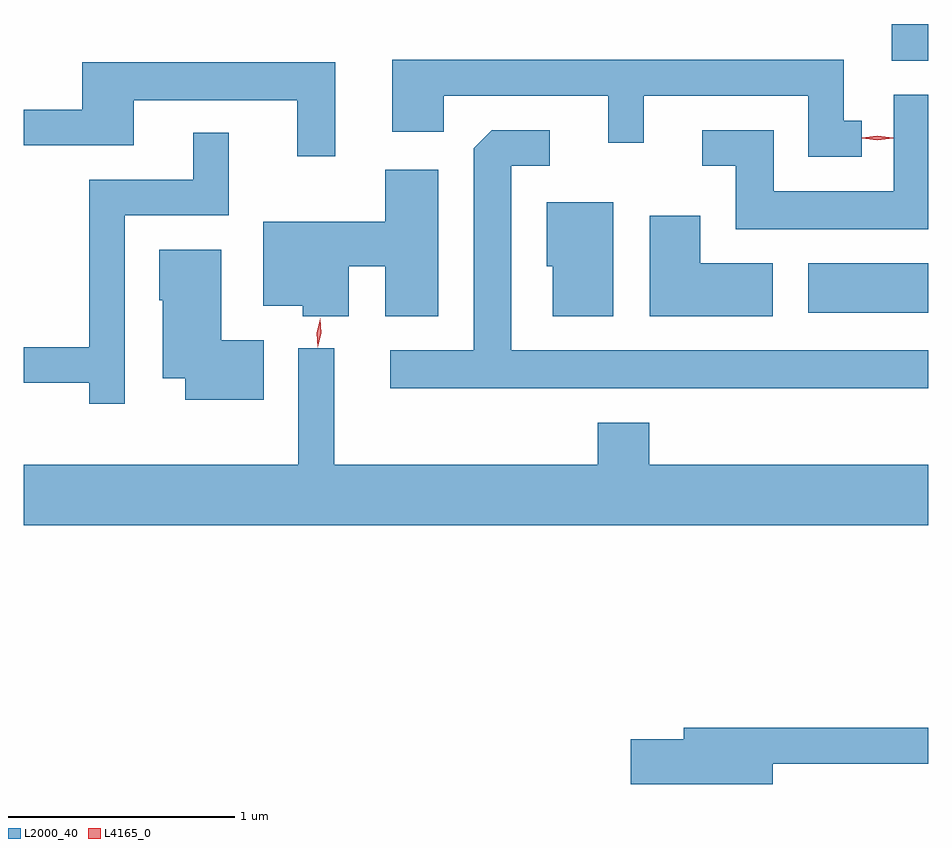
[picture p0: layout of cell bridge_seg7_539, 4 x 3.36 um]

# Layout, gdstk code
import gdstk
lib = gdstk.Library(unit=1e-6, precision=1e-09)
def R(c, l, rs):  # rectangles x0, y0, x1, y1
    for r in rs: c.add(gdstk.rectangle(r[:2], r[2:], *l))
def P(c, l, *ps):  # polygons
    for p in ps: c.add(gdstk.Polygon(p, *l))
L2000_40 = (2000, 40)
L4165_0 = (4165, 0)

bridge_seg7_539 = lib.new_cell('bridge_seg7_539')
R(bridge_seg7_539, L2000_40, [(959.011,1770.756,959.542,1770.974), (959.381,1771.871,959.542,1772.033)])
P(bridge_seg7_539, L2000_40, [(959.248,1771.604),(959.169,1771.604),(959.169,1771.874),(957.171,1771.874),(957.171,1771.556),(957.399,1771.556),(957.399,1771.716),(958.126,1771.716),(958.126,1771.508),(958.284,1771.508),(958.284,1771.716),(959.011,1771.716),(959.011,1771.446),(959.248,1771.446)],
  [(956.919,1771.864),(955.801,1771.864),(955.801,1771.654),(955.542,1771.654),(955.542,1771.496),(956.029,1771.496),(956.029,1771.696),(956.751,1771.696),(956.751,1771.448),(956.919,1771.448)],
  [(959.542,1771.719),(959.391,1771.719),(959.391,1771.294),(958.859,1771.294),(958.859,1771.564),(958.543,1771.564),(958.543,1771.406),(958.691,1771.406),(958.691,1771.126),(959.542,1771.126)],
  [(959.542,1770.589),(957.699,1770.589),(957.699,1771.406),(957.868,1771.406),(957.868,1771.564),(957.612,1771.564),(957.531,1771.484),(957.531,1770.589),(957.163,1770.589),(957.163,1770.421),(959.542,1770.421)],
  [(955.989,1771.186),(956.449,1771.186),(956.449,1771.553),(956.291,1771.553),(956.291,1771.344),(955.831,1771.344),(955.831,1770.604),(955.542,1770.604),(955.542,1770.446),(955.831,1770.446),(955.831,1770.353),(955.989,1770.353)],
  [(956.979,1770.961),(957.141,1770.961),(957.141,1770.741),(957.374,1770.741),(957.374,1771.389),(957.141,1771.389),(957.141,1771.159),(956.601,1771.159),(956.601,1770.786),(956.776,1770.786),(956.776,1770.741),(956.979,1770.741)],
  [(958.149,1771.244),(957.856,1771.244),(957.856,1770.961),(957.881,1770.961),(957.881,1770.741),(958.149,1770.741)],
  [(958.854,1770.974),(958.534,1770.974),(958.534,1771.184),(958.311,1771.184),(958.311,1770.741),(958.854,1770.741)],
  [(956.604,1770.634),(956.414,1770.634),(956.414,1771.034),(956.141,1771.034),(956.141,1770.81),(956.156,1770.81),(956.156,1770.466),(956.256,1770.466),(956.256,1770.371),(956.604,1770.371)],
  [(959.542,1770.084),(958.309,1770.084),(958.309,1770.269),(958.081,1770.269),(958.081,1770.084),(956.914,1770.084),(956.914,1770.598),(956.756,1770.598),(956.756,1770.084),(955.542,1770.084),(955.542,1769.816),(959.542,1769.816)],
  [(958.854,1768.761),(959.542,1768.761),(959.542,1768.919),(958.461,1768.919),(958.461,1768.869),(958.226,1768.869),(958.226,1768.671),(958.854,1768.671)])
P(bridge_seg7_539, L4165_0, [(956.842,1770.603),(956.841,1770.604),(956.838,1770.668),(956.854,1770.73),(956.854,1770.731),(956.854,1770.73),(956.858,1770.666),(956.842,1770.604)],
  [(959.318,1771.518),(959.249,1771.528),(959.249,1771.528),(959.249,1771.529),(959.318,1771.538),(959.388,1771.529),(959.388,1771.528),(959.388,1771.528)])

lib.write_gds('bridge_seg7_539.gds')
